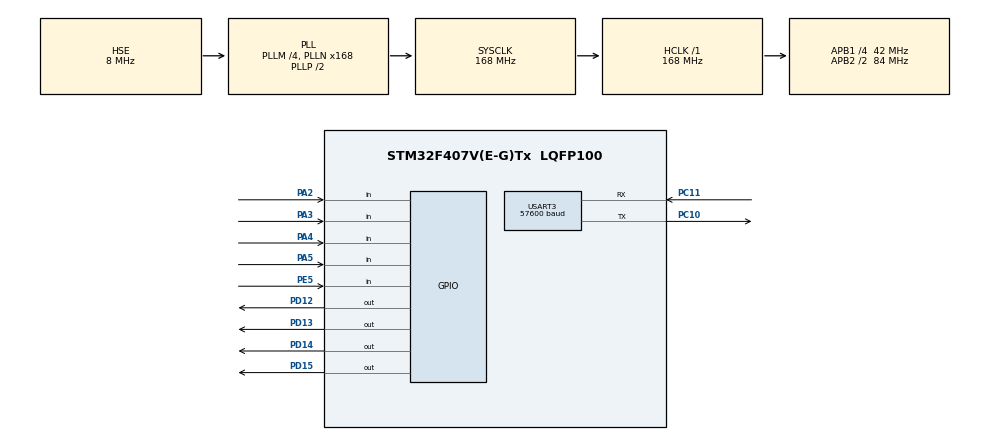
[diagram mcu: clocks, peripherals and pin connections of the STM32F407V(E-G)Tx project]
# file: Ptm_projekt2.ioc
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Mcu.Family=STM32F4
Mcu.Name=STM32F407V(E-G)Tx
Mcu.Package=LQFP100
NVIC.PriorityGroup=NVIC_PRIORITYGROUP_4
NVIC.TIM4_IRQn=true\:0\:0\:false\:false\:true\:true\:true
NVIC.USART3_IRQn=true\:0\:0\:false\:false\:true\:true\:true
PA2.GPIO_Mode=GPIO_MODE_INPUT
PA2.GPIO_PuPd=GPIO_PULLUP
PA2.Signal=GPIO_Input
PA3.GPIO_Mode=GPIO_MODE_INPUT
PA3.GPIO_PuPd=GPIO_PULLUP
PA3.Signal=GPIO_Input
PA4.GPIO_Mode=GPIO_MODE_INPUT
PA4.GPIO_PuPd=GPIO_PULLUP
PA4.Signal=GPIO_Input
PA5.GPIO_Mode=GPIO_MODE_INPUT
PA5.GPIO_PuPd=GPIO_PULLUP
PA5.Signal=GPIO_Input
PC10.Mode=Asynchronous
PC10.Signal=USART3_TX
PC11.Mode=Asynchronous
PC11.Signal=USART3_RX
PD12.Signal=GPIO_Output
PD13.Signal=GPIO_Output
PD14.Signal=GPIO_Output
PD15.Signal=GPIO_Output
PE5.GPIO_PuPd=GPIO_NOPULL
PE5.Signal=GPIO_Input
PH0-OSC_IN.Mode=HSE-External-Oscillator
PH0-OSC_IN.Signal=RCC_OSC_IN
PH1-OSC_OUT.Mode=HSE-External-Oscillator
PH1-OSC_OUT.Signal=RCC_OSC_OUT
ProjectManager.HeapSize=0x200
ProjectManager.StackSize=0x400
ProjectManager.TargetToolchain=SW4STM32
RCC.48MHZClocksFreq_Value=84000000
RCC.AHBFreq_Value=168000000
RCC.APB1CLKDivider=RCC_HCLK_DIV4
RCC.APB1Freq_Value=42000000
RCC.APB1TimFreq_Value=84000000
RCC.APB2CLKDivider=RCC_HCLK_DIV2
RCC.APB2Freq_Value=84000000
RCC.APB2TimFreq_Value=168000000
RCC.CortexFreq_Value=168000000
RCC.HCLKFreq_Value=168000000
RCC.HSE_VALUE=8000000
RCC.HSI_VALUE=16000000
RCC.LSE_VALUE=32768
RCC.PLLM=4
RCC.PLLN=168
RCC.PLLSourceVirtual=RCC_PLLSOURCE_HSE
RCC.SYSCLKFreq_VALUE=168000000
RCC.SYSCLKSource=RCC_SYSCLKSOURCE_PLLCLK
RCC.VCOOutputFreq_Value=336000000
TIM4.Period=1999
TIM4.Prescaler=16799
USART3.BaudRate=57600
USART3.VirtualMode=VM_ASYNC
VP_TIM4_VS_ClockSourceINT.Mode=Internal
board=custom

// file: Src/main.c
/* USER CODE BEGIN Header */
/**
  ******************************************************************************
  * @file           : main.c
  * @brief          : Main program body
  ******************************************************************************
  * @attention
  *
  * <h2><center>&copy; Copyright (c) 2019 STMicroelectronics.
  * All rights reserved.</center></h2>
  *
  * This software component is licensed by ST under BSD 3-Clause license,
  * the "License"; You may not use this file except in compliance with the
  * License. You may obtain a copy of the License at:
  *                        opensource.org/licenses/BSD-3-Clause
  *
  ******************************************************************************
  */
/* USER CODE END Header */

#include "main.h"

/* USER CODE BEGIN Includes */
#include "stm32_tm1637.h"
#include "stdlib.h"
/* USER CODE END Includes */

/* USER CODE BEGIN PD */
int gotACK();
/* USER CODE END PD */

TIM_HandleTypeDef htim4;

UART_HandleTypeDef huart3;

/* USER CODE BEGIN PV */

/* Private variables ---------------------------------------------------------*/
uint8_t at_UART[10] = {'A', 'T', '\r','\n'};
uint8_t at_cmgf1_UART[17] = {'A', 'T', '+', 'C', 'M', 'G', 'F','=','1', '\r','\n'};
uint8_t at_cmgf0_UART[17] = {'A', 'T', '+', 'C', 'M', 'G', 'F','=','0', '\r','\n'};
uint8_t at_cmgs_UART[30] = {'A', 'T', '+', 'C', 'M', 'G', 'S','=','"','+','4','8','6','6','4','9','4','2','3','3','3','"', '\r','\n'};
uint8_t atd_UART[27] = {'A', 'T', 'D',  '+','4','8','6','6','4','9','4','2','3','3','3',';', '\r','\n'};
uint8_t ath_UART[11] = {'A', 'T', 'H', '\r','\n'};
uint8_t msg_UART[11] = {'I', 'N', 'T', 'R','U','D','E','R','!','!', 26};
uint8_t end_UART[1] = {'1A'};

uint8_t receiveUART[2];
int ready=0;
int alert_go = 0;
// TM1637 and Keyboard variables
GPIO_PinState valueIO1;
GPIO_PinState valueIO2;
GPIO_PinState valueIO3;
GPIO_PinState valueIO4;
GPIO_PinState valueIO5;
int do_count = 0;
int counter = 3;
char value[4]="0000";
int int_value=0000;
int time = 0;
int start_code_int=0000;
int code_set = 0;
int end=0;
int endtim=9999;
/* USER CODE END PV */

void SystemClock_Config(void);
static void MX_GPIO_Init(void);
static void MX_TIM4_Init(void);
static void MX_USART3_UART_Init(void);
/* USER CODE BEGIN PFP */
/* Private function prototypes -----------------------------------------------*/
void HAL_UART_RxCpltCallback(UART_HandleTypeDef *huart) {
   if(huart->Instance == USART3){
	   HAL_GPIO_TogglePin(GPIOD, GPIO_PIN_14);
       HAL_UART_Receive_IT(&huart3, receiveUART, sizeof(receiveUART));
       if(gotACK() == 1){
    	   ready=1;
       }
   }
}

void HAL_TIM_PeriodElapsedCallback ( TIM_HandleTypeDef *htim){
if (htim-> Instance == TIM4)
{
	if(do_count==1){
	if(time >= 25) {
		do_count = 0;
		time = 0;
		HAL_TIM_Base_Stop_IT (&htim4);
		alert_go = 1;
	}
	time = time +1;
}}
if(end == 1){
	tm1637DisplayDecimal(endtim,0);
	endtim=endtim-1;
}
}

void readButtons(){
	  GPIO_InitTypeDef GPIO_InitStruct;

 //Read Keys 1-4
	  /*Configure GPIO pin : PA1 */
	  	  	  	  HAL_GPIO_WritePin(GPIOA, GPIO_PIN_1, GPIO_PIN_RESET);
	  		  	  GPIO_InitStruct.Pin = GPIO_PIN_1;
	  		  	  GPIO_InitStruct.Mode = GPIO_MODE_OUTPUT_PP;
	  		  	  GPIO_InitStruct.Pull = GPIO_NOPULL;
	  		  	  GPIO_InitStruct.Speed = GPIO_SPEED_FREQ_LOW;
	  		  	  HAL_GPIO_Init(GPIOA, &GPIO_InitStruct);

	  /*Configure GPIO pins : PA2 PA3 PA4 PA5 */
	  		  	  GPIO_InitStruct.Pin =   GPIO_PIN_2|GPIO_PIN_3|GPIO_PIN_4|GPIO_PIN_5;
	  		  	  GPIO_InitStruct.Mode = GPIO_MODE_INPUT;
	  		  	  GPIO_InitStruct.Pull = GPIO_PULLUP;
	  		  	  HAL_GPIO_Init(GPIOA, &GPIO_InitStruct);

	if(HAL_GPIO_ReadPin(GPIOA, GPIO_PIN_2)==GPIO_PIN_RESET){ value[counter]='0'; counter--; while(HAL_GPIO_ReadPin(GPIOA, GPIO_PIN_2)==GPIO_PIN_RESET); HAL_Delay(100); }
	if(HAL_GPIO_ReadPin(GPIOA, GPIO_PIN_3)==GPIO_PIN_RESET){ value[counter]='1'; counter--; while(HAL_GPIO_ReadPin(GPIOA, GPIO_PIN_3)==GPIO_PIN_RESET); HAL_Delay(100);}
	if(HAL_GPIO_ReadPin(GPIOA, GPIO_PIN_4)==GPIO_PIN_RESET){ value[counter]='2'; counter--; while(HAL_GPIO_ReadPin(GPIOA, GPIO_PIN_4)==GPIO_PIN_RESET); HAL_Delay(100);}
	if(HAL_GPIO_ReadPin(GPIOA, GPIO_PIN_5)==GPIO_PIN_RESET){ value[counter]='3'; counter--; while(HAL_GPIO_ReadPin(GPIOA, GPIO_PIN_5)==GPIO_PIN_RESET); HAL_Delay(100);}

	//Read Keys 5-7
	  /*Configure GPIO pin : PA2 */
	  	  	  	  HAL_GPIO_WritePin(GPIOA, GPIO_PIN_2, GPIO_PIN_RESET);
	  		  	  GPIO_InitStruct.Pin = GPIO_PIN_2;
	  		  	  GPIO_InitStruct.Mode = GPIO_MODE_OUTPUT_PP;
	  		  	  GPIO_InitStruct.Pull = GPIO_NOPULL;
	  		  	  GPIO_InitStruct.Speed = GPIO_SPEED_FREQ_LOW;
	  		  	  HAL_GPIO_Init(GPIOA, &GPIO_InitStruct);

	  /*Configure GPIO pins : PA1*/
	  		      GPIO_InitStruct.Pin =   GPIO_PIN_1;
	  		      GPIO_InitStruct.Mode = GPIO_MODE_INPUT;
	  		      GPIO_InitStruct.Pull = GPIO_PULLUP;
	  		      HAL_GPIO_Init(GPIOA, &GPIO_InitStruct);

	if(HAL_GPIO_ReadPin(GPIOA, GPIO_PIN_3)==GPIO_PIN_RESET){ value[counter]='4'; counter--; while(HAL_GPIO_ReadPin(GPIOA, GPIO_PIN_3)==GPIO_PIN_RESET); HAL_Delay(100); }
	if(HAL_GPIO_ReadPin(GPIOA, GPIO_PIN_4)==GPIO_PIN_RESET){ value[counter]='5'; counter--; while(HAL_GPIO_ReadPin(GPIOA, GPIO_PIN_4)==GPIO_PIN_RESET); HAL_Delay(100);}
	if(HAL_GPIO_ReadPin(GPIOA, GPIO_PIN_5)==GPIO_PIN_RESET){ value[counter]='6'; counter--; while(HAL_GPIO_ReadPin(GPIOA, GPIO_PIN_5)==GPIO_PIN_RESET); HAL_Delay(100);}

	//Read Keys 8-9
	  /*Configure GPIO pin : PA3 */
	  	  	  	  HAL_GPIO_WritePin(GPIOA, GPIO_PIN_3, GPIO_PIN_RESET);
	  		  	  GPIO_InitStruct.Pin = GPIO_PIN_3;
	  		  	  GPIO_InitStruct.Mode = GPIO_MODE_OUTPUT_PP;
	  		  	  GPIO_InitStruct.Pull = GPIO_NOPULL;
	  		  	  GPIO_InitStruct.Speed = GPIO_SPEED_FREQ_LOW;
	  		  	  HAL_GPIO_Init(GPIOA, &GPIO_InitStruct);

	  /*Configure GPIO pins : PA2*/
	  		      GPIO_InitStruct.Pin =   GPIO_PIN_2;
	  		      GPIO_InitStruct.Mode = GPIO_MODE_INPUT;
	  		      GPIO_InitStruct.Pull = GPIO_PULLUP;
	  		      HAL_GPIO_Init(GPIOA, &GPIO_InitStruct);

	if(HAL_GPIO_ReadPin(GPIOA, GPIO_PIN_4)==GPIO_PIN_RESET){ value[counter]='7'; counter--; while(HAL_GPIO_ReadPin(GPIOA, GPIO_PIN_4)==GPIO_PIN_RESET); HAL_Delay(100);}
	if(HAL_GPIO_ReadPin(GPIOA, GPIO_PIN_5)==GPIO_PIN_RESET){ value[counter]='8'; counter--; while(HAL_GPIO_ReadPin(GPIOA, GPIO_PIN_5)==GPIO_PIN_RESET); HAL_Delay(100);}

	//Read Key 10
	  /*Configure GPIO pin : PA4 */
	  	  	  	  HAL_GPIO_WritePin(GPIOA, GPIO_PIN_4, GPIO_PIN_RESET);
	  		  	  GPIO_InitStruct.Pin = GPIO_PIN_4;
	  		  	  GPIO_InitStruct.Mode = GPIO_MODE_OUTPUT_PP;
	  		  	  GPIO_InitStruct.Pull = GPIO_NOPULL;
	  		  	  GPIO_InitStruct.Speed = GPIO_SPEED_FREQ_LOW;
	  		  	  HAL_GPIO_Init(GPIOA, &GPIO_InitStruct);
	  /*Configure GPIO pins : PA3*/
	  		      GPIO_InitStruct.Pin =   GPIO_PIN_3;
	  		      GPIO_InitStruct.Mode = GPIO_MODE_INPUT;
	  		      GPIO_InitStruct.Pull = GPIO_PULLUP;
	  		      HAL_GPIO_Init(GPIOA, &GPIO_InitStruct);

	if(HAL_GPIO_ReadPin(GPIOA, GPIO_PIN_5)==GPIO_PIN_RESET){ value[counter]='9'; counter--; while(HAL_GPIO_ReadPin(GPIOA, GPIO_PIN_5)==GPIO_PIN_RESET); HAL_Delay(100);}
	HAL_GPIO_WritePin(GPIOA, GPIO_PIN_1 |GPIO_PIN_2 |GPIO_PIN_3 |GPIO_PIN_4|GPIO_PIN_5, GPIO_PIN_SET);

	int_value = atoi(&value[0]);

	tm1637DisplayDecimal(int_value,0);
	//Display Section
	if(counter == -1) {
		counter = 3;

	}

}

void setPassword(){

	 GPIO_InitTypeDef GPIO_InitStruct;

 //Read Keys 1-4
	  /*Configure GPIO pin : PA1 */

	  	  	  	  HAL_GPIO_WritePin(GPIOA, GPIO_PIN_1, GPIO_PIN_RESET);
	  		  	  GPIO_InitStruct.Pin = GPIO_PIN_1;
	  		  	  GPIO_InitStruct.Mode = GPIO_MODE_OUTPUT_PP;
	  		  	  GPIO_InitStruct.Pull = GPIO_NOPULL;
	  		  	  GPIO_InitStruct.Speed = GPIO_SPEED_FREQ_LOW;
	  		  	  HAL_GPIO_Init(GPIOA, &GPIO_InitStruct);

	  /*Configure GPIO pins : PA2 PA3 PA4 PA5 */
	  		  	  GPIO_InitStruct.Pin =   GPIO_PIN_2|GPIO_PIN_3|GPIO_PIN_4|GPIO_PIN_5;
	  		  	  GPIO_InitStruct.Mode = GPIO_MODE_INPUT;
	  		  	  GPIO_InitStruct.Pull = GPIO_PULLUP;
	  		  	  HAL_GPIO_Init(GPIOA, &GPIO_InitStruct);

	if(HAL_GPIO_ReadPin(GPIOA, GPIO_PIN_2)==GPIO_PIN_RESET){ value[counter]='0'; counter--; while(HAL_GPIO_ReadPin(GPIOA, GPIO_PIN_2)==GPIO_PIN_RESET); HAL_Delay(100); }
	if(HAL_GPIO_ReadPin(GPIOA, GPIO_PIN_3)==GPIO_PIN_RESET){ value[counter]='1'; counter--; while(HAL_GPIO_ReadPin(GPIOA, GPIO_PIN_3)==GPIO_PIN_RESET); HAL_Delay(100);}
	if(HAL_GPIO_ReadPin(GPIOA, GPIO_PIN_4)==GPIO_PIN_RESET){ value[counter]='2'; counter--; while(HAL_GPIO_ReadPin(GPIOA, GPIO_PIN_4)==GPIO_PIN_RESET); HAL_Delay(100);}
	if(HAL_GPIO_ReadPin(GPIOA, GPIO_PIN_5)==GPIO_PIN_RESET){ value[counter]='3'; counter--; while(HAL_GPIO_ReadPin(GPIOA, GPIO_PIN_5)==GPIO_PIN_RESET); HAL_Delay(100);}

	//Read Keys 5-7
	  /*Configure GPIO pin : PA2 */
	  	  	  	  HAL_GPIO_WritePin(GPIOA, GPIO_PIN_2, GPIO_PIN_RESET);
	  		  	  GPIO_InitStruct.Pin = GPIO_PIN_2;
	  		  	  GPIO_InitStruct.Mode = GPIO_MODE_OUTPUT_PP;
	  		  	  GPIO_InitStruct.Pull = GPIO_NOPULL;
	  		  	  GPIO_InitStruct.Speed = GPIO_SPEED_FREQ_LOW;
	  		  	  HAL_GPIO_Init(GPIOA, &GPIO_InitStruct);

	  /*Configure GPIO pins : PA1*/
	  		      GPIO_InitStruct.Pin =   GPIO_PIN_1;
	  		      GPIO_InitStruct.Mode = GPIO_MODE_INPUT;
	  		      GPIO_InitStruct.Pull = GPIO_PULLUP;
	  		      HAL_GPIO_Init(GPIOA, &GPIO_InitStruct);

	if(HAL_GPIO_ReadPin(GPIOA, GPIO_PIN_3)==GPIO_PIN_RESET){ value[counter]='4'; counter--; while(HAL_GPIO_ReadPin(GPIOA, GPIO_PIN_3)==GPIO_PIN_RESET); HAL_Delay(100); }
	if(HAL_GPIO_ReadPin(GPIOA, GPIO_PIN_4)==GPIO_PIN_RESET){ value[counter]='5'; counter--; while(HAL_GPIO_ReadPin(GPIOA, GPIO_PIN_4)==GPIO_PIN_RESET); HAL_Delay(100); }
	if(HAL_GPIO_ReadPin(GPIOA, GPIO_PIN_5)==GPIO_PIN_RESET){ value[counter]='6'; counter--; while(HAL_GPIO_ReadPin(GPIOA, GPIO_PIN_5)==GPIO_PIN_RESET); HAL_Delay(100); }

	//Read Keys 8-9
	  /*Configure GPIO pin : PA3 */
	  	  	  	  HAL_GPIO_WritePin(GPIOA, GPIO_PIN_3, GPIO_PIN_RESET);
	  		  	  GPIO_InitStruct.Pin = GPIO_PIN_3;
	  		  	  GPIO_InitStruct.Mode = GPIO_MODE_OUTPUT_PP;
	  		  	  GPIO_InitStruct.Pull = GPIO_NOPULL;
	  		  	  GPIO_InitStruct.Speed = GPIO_SPEED_FREQ_LOW;
	  		  	  HAL_GPIO_Init(GPIOA, &GPIO_InitStruct);

	  /*Configure GPIO pins : PA2*/
	  		      GPIO_InitStruct.Pin =   GPIO_PIN_2;
	  		      GPIO_InitStruct.Mode = GPIO_MODE_INPUT;
	  		      GPIO_InitStruct.Pull = GPIO_PULLUP;
	  		      HAL_GPIO_Init(GPIOA, &GPIO_InitStruct);

	if(HAL_GPIO_ReadPin(GPIOA, GPIO_PIN_4)==GPIO_PIN_RESET){ value[counter]='7'; counter--; while(HAL_GPIO_ReadPin(GPIOA, GPIO_PIN_4)==GPIO_PIN_RESET); HAL_Delay(100); }
	if(HAL_GPIO_ReadPin(GPIOA, GPIO_PIN_5)==GPIO_PIN_RESET){ value[counter]='8'; counter--; while(HAL_GPIO_ReadPin(GPIOA, GPIO_PIN_5)==GPIO_PIN_RESET); HAL_Delay(100); }

	//Read Key 10
	  /*Configure GPIO pin : PA4 */
	  	  	  	  HAL_GPIO_WritePin(GPIOA, GPIO_PIN_4, GPIO_PIN_RESET);
	  		  	  GPIO_InitStruct.Pin = GPIO_PIN_4;
	  		  	  GPIO_InitStruct.Mode = GPIO_MODE_OUTPUT_PP;
	  		  	  GPIO_InitStruct.Pull = GPIO_NOPULL;
	  		  	  GPIO_InitStruct.Speed = GPIO_SPEED_FREQ_LOW;
	  		  	  HAL_GPIO_Init(GPIOA, &GPIO_InitStruct);
	  /*Configure GPIO pins : PA3*/
	  		      GPIO_InitStruct.Pin =   GPIO_PIN_3;
	  		      GPIO_InitStruct.Mode = GPIO_MODE_INPUT;
	  		      GPIO_InitStruct.Pull = GPIO_PULLUP;
	  		      HAL_GPIO_Init(GPIOA, &GPIO_InitStruct);

	if(HAL_GPIO_ReadPin(GPIOA, GPIO_PIN_5)==GPIO_PIN_RESET){ value[counter]='9'; counter--; while(HAL_GPIO_ReadPin(GPIOA, GPIO_PIN_5)==GPIO_PIN_RESET); HAL_Delay(100); }
	HAL_GPIO_WritePin(GPIOA, GPIO_PIN_1 |GPIO_PIN_2 |GPIO_PIN_3 |GPIO_PIN_4|GPIO_PIN_5, GPIO_PIN_SET);

	//Display Section

	start_code_int = atoi(&value[0]);
	tm1637DisplayDecimal(start_code_int,0);
			if(counter == -1){
				counter = 3;
			    code_set = 1;
			    HAL_Delay(500);
			   resetValue();
			    tm1637DisplayDecimal(0000,0);
			}

}
/* USER CODE END PFP */

/* USER CODE BEGIN 0 */
void resetValue(){
	 for(int i=0; i<4; i++)
	 {
		value[i]=0;
	 }
}
int gotACK(){

	if(receiveUART[0]=='O' && receiveUART[1]=='K')
	       {
		HAL_GPIO_TogglePin(GPIOD, GPIO_PIN_13);
	    	   receiveUART[0]='1';
	    	   receiveUART[1]='2';
	    	   return 1;
	       } else return 0;
}
void alarm(){
	//Blinking led that shows that trigger worked
	 for(int a=0; a<5; a++)
	 {
		 HAL_GPIO_TogglePin(GPIOD, GPIO_PIN_15);
		 HAL_Delay(500);
	 }

	//AT command sending to SIM module
	{
		HAL_GPIO_TogglePin(GPIOD, GPIO_PIN_15);
		HAL_UART_Transmit_IT(&huart3, at_UART, strlen(at_UART));
		HAL_Delay(200);
	} while(ready==0);
	ready=0;

	/*Change mode to SMS mode
	do
	{
		HAL_GPIO_TogglePin(GPIOD, GPIO_PIN_15);
		HAL_UART_Transmit_IT(&huart3, at_cmgf1_UART, strlen(at_cmgf1_UART));
		HAL_Delay(200);
	} while(ready==0);
	ready=0;
*/

	//Setting number for sending SMS
	//HAL_UART_Transmit_IT(&huart3, at_cmgs_UART, strlen(at_cmgs_UART));
	//HAL_Delay(200);

	//Sending content of the message
	//HAL_UART_Transmit_IT(&huart3, msg_UART, strlen(msg_UART));
	//HAL_Delay(200);

	//Change mode to CALLING mode
	do
	{
		HAL_UART_Transmit_IT(&huart3, at_cmgf1_UART, strlen(at_cmgf1_UART));
		HAL_Delay(400);
	} while(ready==0);
	ready=0;
	end=1;
	for(int i=0; i<5; i++)
	{
		HAL_GPIO_TogglePin(GPIOD, GPIO_PIN_14);
		HAL_GPIO_TogglePin(GPIOD, GPIO_PIN_13);
		HAL_Delay(400);
	 }
	//Making a CALL 5 times
	for(int call=0; call<1; call++)
	{
		//Making a call
		do
		{
			HAL_UART_Transmit_IT(&huart3, atd_UART, strlen(atd_UART));
			HAL_Delay(400);
		} while(ready==0);
		ready=0;

		//Hanging up a CALL
		HAL_Delay(20000);
		do
		{
			HAL_UART_Transmit_IT(&huart3, ath_UART, strlen(ath_UART));
			HAL_Delay(300);
		} while(ready==0);
		ready=0;
	}
}
/* USER CODE END 0 */

int main(void)
{
  /* USER CODE BEGIN 1 */
  tm1637Init();
  /* USER CODE END 1 */

  /* MCU Configuration--------------------------------------------------------*/

  /* Reset of all peripherals, Initializes the Flash interface and the Systick. */
  HAL_Init();

  /* Configure the system clock */
  SystemClock_Config();

  /* Initialize all configured peripherals */
  MX_GPIO_Init();
  MX_TIM4_Init();
  TIM4->PSC = 16800;
  TIM4->ARR = 5000;
  MX_USART3_UART_Init();
  /* USER CODE BEGIN 2 */
  HAL_UART_Receive_IT(&huart3, receiveUART, sizeof(receiveUART));

  /* USER CODE END 2 */

  /* Infinite loop */
  /* USER CODE BEGIN WHILE */
  while (1)
  {		  // Set Password
	  if(code_set == 0){
		  setPassword();
	  }
	  else {
	  //trigger operation when movement detected

	  if(HAL_GPIO_ReadPin(GPIOE, GPIO_PIN_5) == GPIO_PIN_SET)
		  {
		  	 HAL_GPIO_TogglePin(GPIOD, GPIO_PIN_14);
		  	HAL_GPIO_TogglePin(GPIOD, GPIO_PIN_13);
		  	if(end==0){
		  	do_count = 1;}

  	  	  	  }

			//Reading keyboard and displaying Values on screen
	  if(do_count == 1){
		  HAL_TIM_Base_Start_IT (&htim4);

		  while(do_count == 1){

			  readButtons();

			  // Jesli kod poprawny zatrzymaj zegar i wyjdz z petli
			  if(start_code_int == int_value)
			  {
		      time = 0;
		      do_count = 0;
		      HAL_TIM_Base_Stop_IT (&htim4);
		      start_code_int=0;
		      int_value=1;
		      end=1;
		      resetValue();
		      tm1637DisplayDecimal(0000,1);
		      HAL_Delay(5000);
		      for(int i4=7; i4>=0; i4--)
		      		 		  {
		      		  tm1637SetBrightness(i4);
		      		  HAL_Delay(100);
		      		 		  }
		      		  HAL_GPIO_WritePin(GPIOD, GPIO_PIN_14|GPIO_PIN_13|GPIO_PIN_12|GPIO_PIN_15, GPIO_PIN_RESET);
		      		  break;
		      }
	   }
	}
	  if(end == 1 && do_count==1) {
		  int i=0;

		  for(int i4=5; i4>=0; i4--)
		  {
			  value[3]=i4+48;
			  for(int i3=9; i3>=0; i3--)
			  {
				  value[2]=i3+48;
				  for(int i2=9; i2>=0; i2--)
				  {
					  value[1]=i2+48;
					  for(int i1=9; i1>=0; i1--)
					  {
						  value[0]=i1+48;
						  int_value=atoi(&value[0]);
						  tm1637SetBrightness(0);
						  tm1637SetBrightness(7);
						  tm1637DisplayDecimal(int_value,1);
						  HAL_Delay(10);
					  			  }
				  			  }
			  }

		  }
		  for(int i4=7; i4>=0; i4--)
		 		  {
		  tm1637SetBrightness(i4);
		  HAL_Delay(100);
		 		  }
		  HAL_GPIO_WritePin(GPIOD, GPIO_PIN_14|GPIO_PIN_13|GPIO_PIN_12|GPIO_PIN_15, GPIO_PIN_RESET);
		  break;
	  }
	  if(alert_go == 1) alarm();
	  }
}

    /* USER CODE END WHILE */

 }
void SystemClock_Config(void)
{
  RCC_OscInitTypeDef RCC_OscInitStruct = {0};
  RCC_ClkInitTypeDef RCC_ClkInitStruct = {0};

  /** Configure the main internal regulator output voltage
  */
  __HAL_RCC_PWR_CLK_ENABLE();
  __HAL_PWR_VOLTAGESCALING_CONFIG(PWR_REGULATOR_VOLTAGE_SCALE1);
  /** Initializes the CPU, AHB and APB busses clocks
  */
  RCC_OscInitStruct.OscillatorType = RCC_OSCILLATORTYPE_HSE;
  RCC_OscInitStruct.HSEState = RCC_HSE_ON;
  RCC_OscInitStruct.PLL.PLLState = RCC_PLL_ON;
  RCC_OscInitStruct.PLL.PLLSource = RCC_PLLSOURCE_HSE;
  RCC_OscInitStruct.PLL.PLLM = 4;
  RCC_OscInitStruct.PLL.PLLN = 168;
  RCC_OscInitStruct.PLL.PLLP = RCC_PLLP_DIV2;
  RCC_OscInitStruct.PLL.PLLQ = 4;
  if (HAL_RCC_OscConfig(&RCC_OscInitStruct) != HAL_OK)
  {
    Error_Handler();
  }
  /** Initializes the CPU, AHB and APB busses clocks
  */
  RCC_ClkInitStruct.ClockType = RCC_CLOCKTYPE_HCLK|RCC_CLOCKTYPE_SYSCLK
                              |RCC_CLOCKTYPE_PCLK1|RCC_CLOCKTYPE_PCLK2;
  RCC_ClkInitStruct.SYSCLKSource = RCC_SYSCLKSOURCE_PLLCLK;
  RCC_ClkInitStruct.AHBCLKDivider = RCC_SYSCLK_DIV1;
  RCC_ClkInitStruct.APB1CLKDivider = RCC_HCLK_DIV4;
  RCC_ClkInitStruct.APB2CLKDivider = RCC_HCLK_DIV2;

  if (HAL_RCC_ClockConfig(&RCC_ClkInitStruct, FLASH_LATENCY_5) != HAL_OK)
  {
    Error_Handler();
  }
}

static void MX_TIM4_Init(void)
{

  TIM_ClockConfigTypeDef sClockSourceConfig = {0};
  TIM_MasterConfigTypeDef sMasterConfig = {0};

  htim4.Instance = TIM4;
  htim4.Init.Prescaler = 8399;
  htim4.Init.CounterMode = TIM_COUNTERMODE_UP;
  htim4.Init.Period = 499;
  htim4.Init.ClockDivision = TIM_CLOCKDIVISION_DIV1;
  htim4.Init.AutoReloadPreload = TIM_AUTORELOAD_PRELOAD_DISABLE;
  if (HAL_TIM_Base_Init(&htim4) != HAL_OK)
  {
    Error_Handler();
  }
  sClockSourceConfig.ClockSource = TIM_CLOCKSOURCE_INTERNAL;
  if (HAL_TIM_ConfigClockSource(&htim4, &sClockSourceConfig) != HAL_OK)
  {
    Error_Handler();
  }
  sMasterConfig.MasterOutputTrigger = TIM_TRGO_RESET;
  sMasterConfig.MasterSlaveMode = TIM_MASTERSLAVEMODE_DISABLE;
  if (HAL_TIMEx_MasterConfigSynchronization(&htim4, &sMasterConfig) != HAL_OK)
  {
    Error_Handler();
  }

}

static void MX_USART3_UART_Init(void)
{

  huart3.Instance = USART3;
  huart3.Init.BaudRate = 57600;
  huart3.Init.WordLength = UART_WORDLENGTH_8B;
  huart3.Init.StopBits = UART_STOPBITS_1;
  huart3.Init.Parity = UART_PARITY_NONE;
  huart3.Init.Mode = UART_MODE_TX_RX;
  huart3.Init.HwFlowCtl = UART_HWCONTROL_NONE;
  huart3.Init.OverSampling = UART_OVERSAMPLING_16;
  if (HAL_UART_Init(&huart3) != HAL_OK)
  {
    Error_Handler();
  }

}

static void MX_GPIO_Init(void)
{
  GPIO_InitTypeDef GPIO_InitStruct = {0};

  /* GPIO Ports Clock Enable */
  __HAL_RCC_GPIOE_CLK_ENABLE();
  __HAL_RCC_GPIOH_CLK_ENABLE();
  __HAL_RCC_GPIOA_CLK_ENABLE();
  __HAL_RCC_GPIOD_CLK_ENABLE();
  __HAL_RCC_GPIOC_CLK_ENABLE();

  /*Configure GPIO pin Output Level */
  HAL_GPIO_WritePin(GPIOD, GPIO_PIN_12|GPIO_PIN_13|GPIO_PIN_14|GPIO_PIN_15, GPIO_PIN_RESET);

  /*Configure GPIO pin : PE5 */
  GPIO_InitStruct.Pin = GPIO_PIN_5;
  GPIO_InitStruct.Mode = GPIO_MODE_INPUT;
  GPIO_InitStruct.Pull = GPIO_NOPULL;
  HAL_GPIO_Init(GPIOE, &GPIO_InitStruct);

  /*Configure GPIO pins : PA2 PA3 PA4 PA5 */
  GPIO_InitStruct.Pin = GPIO_PIN_2|GPIO_PIN_3|GPIO_PIN_4|GPIO_PIN_5;
  GPIO_InitStruct.Mode = GPIO_MODE_INPUT;
  GPIO_InitStruct.Pull = GPIO_PULLUP;
  HAL_GPIO_Init(GPIOA, &GPIO_InitStruct);

  /*Configure GPIO pins : PD12 PD13 PD14 PD15 */
  GPIO_InitStruct.Pin = GPIO_PIN_12|GPIO_PIN_13|GPIO_PIN_14|GPIO_PIN_15;
  GPIO_InitStruct.Mode = GPIO_MODE_OUTPUT_PP;
  GPIO_InitStruct.Pull = GPIO_NOPULL;
  GPIO_InitStruct.Speed = GPIO_SPEED_FREQ_LOW;
  HAL_GPIO_Init(GPIOD, &GPIO_InitStruct);

}

void Error_Handler(void)
{
  while(1)
  {
  }
}

/************************ (C) COPYRIGHT STMicroelectronics *****END OF FILE****/
